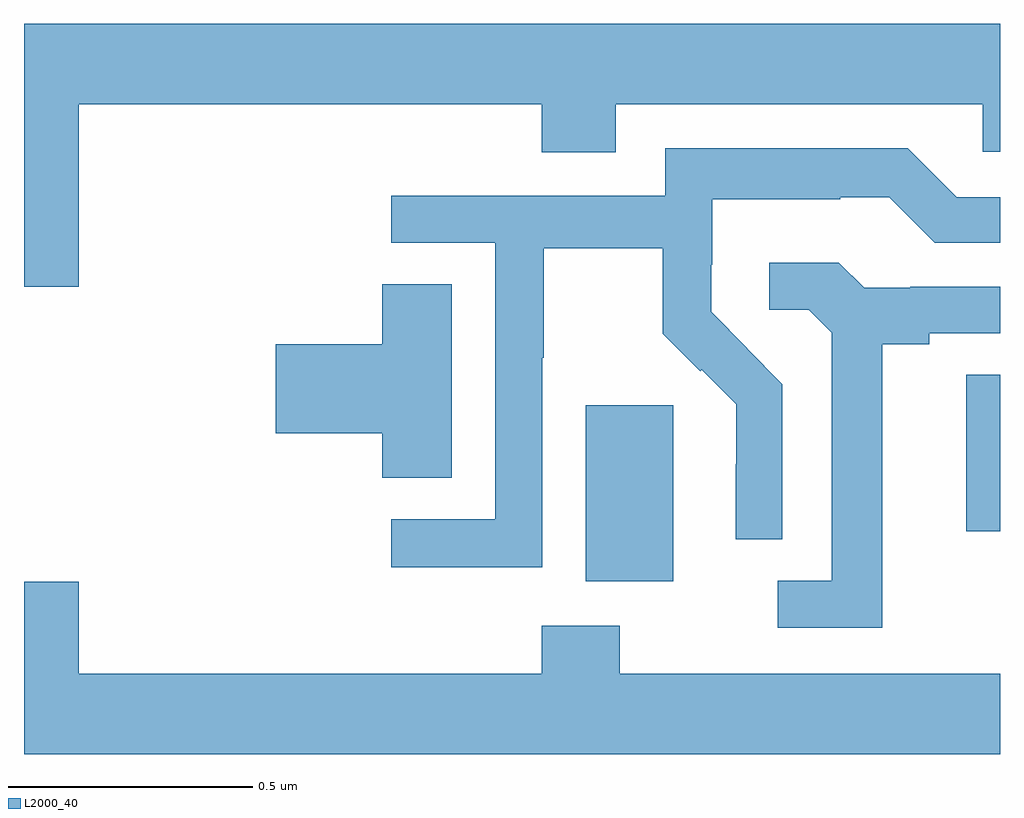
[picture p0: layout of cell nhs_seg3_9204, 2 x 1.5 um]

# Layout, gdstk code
import gdstk
lib = gdstk.Library(unit=1e-6, precision=1e-09)
def R(c, l, rs):  # rectangles x0, y0, x1, y1
    for r in rs: c.add(gdstk.rectangle(r[:2], r[2:], *l))
def P(c, l, *ps):  # polygons
    for p in ps: c.add(gdstk.Polygon(p, *l))
L2000_40 = (2000, 40)

nhs_seg3_9204 = lib.new_cell('nhs_seg3_9204')
R(nhs_seg3_9204, L2000_40, [(226.151,731.906,226.33,732.267), (226.931,732.009,227,732.329)])
P(nhs_seg3_9204, L2000_40, [(225.112,732.884),(226.061,732.884),(226.061,732.785),(226.213,732.785),(226.213,732.884),(226.965,732.884),(226.965,732.786),(227,732.786),(227,733.048),(225,733.048),(225,732.51),(225.112,732.51)],
  [(226.062,732.364),(226.065,732.364),(226.065,732.588),(226.309,732.588),(226.309,732.413),(226.386,732.336),(226.389,732.339),(226.46,732.269),(226.46,732.146),(226.458,732.146),(226.458,731.992),(226.554,731.992),(226.554,732.31),(226.481,732.383),(226.482,732.384),(226.408,732.458),(226.408,732.555),(226.41,732.555),(226.41,732.689),(226.673,732.689),(226.673,732.693),(226.773,732.693),(226.866,732.6),(227,732.6),(227,732.693),(226.911,732.693),(226.811,732.793),(226.314,732.793),(226.314,732.696),(225.753,732.696),(225.753,732.6),(225.966,732.6),(225.966,732.033),(225.753,732.033),(225.753,731.935),(226.062,731.935)],
  [(226.759,732.392),(226.855,732.392),(226.855,732.414),(227,732.414),(227,732.51),(226.816,732.51),(226.816,732.507),(226.722,732.507),(226.67,732.559),(226.527,732.559),(226.527,732.462),(226.608,732.462),(226.655,732.415),(226.655,731.907),(226.545,731.907),(226.545,731.811),(226.759,731.811)],
  [(225.877,732.515),(225.734,732.515),(225.734,732.392),(225.516,732.392),(225.516,732.209),(225.734,732.209),(225.734,732.118),(225.877,732.118)],
  [(227,731.716),(226.221,731.716),(226.221,731.815),(226.061,731.815),(226.061,731.716),(225.112,731.716),(225.112,731.905),(225,731.905),(225,731.552),(227,731.552)])

lib.write_gds('nhs_seg3_9204.gds')
